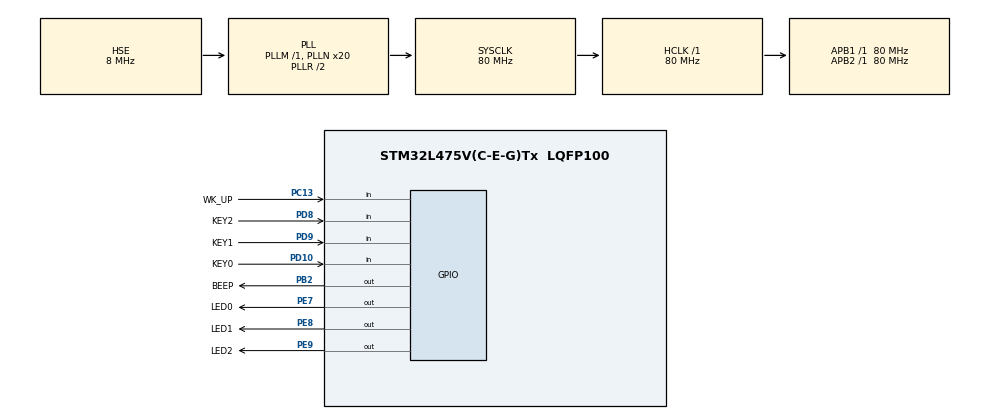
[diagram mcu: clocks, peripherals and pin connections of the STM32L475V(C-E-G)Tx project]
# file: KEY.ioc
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Mcu.Family=STM32L4
Mcu.Name=STM32L475V(C-E-G)Tx
Mcu.Package=LQFP100
NVIC.PriorityGroup=NVIC_PRIORITYGROUP_4
PA13\ (JTMS-SWDIO).Mode=Serial_Wire
PA13\ (JTMS-SWDIO).Signal=SYS_JTMS-SWDIO
PA14\ (JTCK-SWCLK).Mode=Serial_Wire
PA14\ (JTCK-SWCLK).Signal=SYS_JTCK-SWCLK
PB2.GPIO_Label=BEEP
PB2.GPIO_PuPd=GPIO_PULLUP
PB2.GPIO_Speed=GPIO_SPEED_FREQ_HIGH
PB2.PinState=GPIO_PIN_SET
PB2.Signal=GPIO_Output
PC13.GPIO_Label=WK_UP
PC13.GPIO_PuPd=GPIO_PULLUP
PC13.Signal=GPIO_Input
PD10.GPIO_Label=KEY0
PD10.GPIO_PuPd=GPIO_PULLDOWN
PD10.Signal=GPIO_Input
PD8.GPIO_Label=KEY2
PD8.GPIO_PuPd=GPIO_PULLDOWN
PD8.Signal=GPIO_Input
PD9.GPIO_Label=KEY1
PD9.GPIO_PuPd=GPIO_PULLDOWN
PD9.Signal=GPIO_Input
PE7.GPIO_Label=LED0
PE7.GPIO_ModeDefaultOutputPP=GPIO_MODE_OUTPUT_PP
PE7.GPIO_PuPd=GPIO_PULLUP
PE7.GPIO_Speed=GPIO_SPEED_FREQ_HIGH
PE7.PinState=GPIO_PIN_SET
PE7.Signal=GPIO_Output
PE8.GPIO_Label=LED1
PE8.GPIO_ModeDefaultOutputPP=GPIO_MODE_OUTPUT_PP
PE8.GPIO_PuPd=GPIO_PULLUP
PE8.GPIO_Speed=GPIO_SPEED_FREQ_HIGH
PE8.PinState=GPIO_PIN_SET
PE8.Signal=GPIO_Output
PE9.GPIO_Label=LED2
PE9.GPIO_ModeDefaultOutputPP=GPIO_MODE_OUTPUT_PP
PE9.GPIO_PuPd=GPIO_PULLUP
PE9.GPIO_Speed=GPIO_SPEED_FREQ_HIGH
PE9.PinState=GPIO_PIN_SET
PE9.Signal=GPIO_Output
PH0-OSC_IN\ (PH0).Mode=HSE-External-Oscillator
PH0-OSC_IN\ (PH0).Signal=RCC_OSC_IN
PH1-OSC_OUT\ (PH1).Mode=HSE-External-Oscillator
PH1-OSC_OUT\ (PH1).Signal=RCC_OSC_OUT
ProjectManager.HeapSize=0x200
ProjectManager.StackSize=0x400
ProjectManager.TargetToolchain=Makefile
RCC.ADCFreq_Value=32000000
RCC.AHBFreq_Value=80000000
RCC.APB1Freq_Value=80000000
RCC.APB1TimFreq_Value=80000000
RCC.APB2Freq_Value=80000000
RCC.APB2TimFreq_Value=80000000
RCC.CortexFreq_Value=80000000
RCC.HCLKFreq_Value=80000000
RCC.HSE_VALUE=8000000
RCC.HSI_VALUE=16000000
RCC.LSE_VALUE=32768
RCC.MSI_VALUE=4000000
RCC.PLLN=20
RCC.PLLSourceVirtual=RCC_PLLSOURCE_HSE
RCC.SYSCLKFreq_VALUE=80000000
RCC.SYSCLKSource=RCC_SYSCLKSOURCE_PLLCLK
RCC.USBFreq_Value=32000000
RCC.VCOOutputFreq_Value=160000000
board=custom

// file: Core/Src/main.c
/* USER CODE BEGIN Header */
/**
  ******************************************************************************
  * @file           : main.c
  * @brief          : Main program body
  ******************************************************************************
  * @attention
  *
  * Copyright (c) 2025 STMicroelectronics.
  * All rights reserved.
  *
  * This software is licensed under terms that can be found in the LICENSE file
  * in the root directory of this software component.
  * If no LICENSE file comes with this software, it is provided AS-IS.
  *
  ******************************************************************************
  */
/* USER CODE END Header */
#include "main.h"
#include "gpio.h"

void SystemClock_Config(void);

int main(void)
{

  /* MCU Configuration--------------------------------------------------------*/

  /* Reset of all peripherals, Initializes the Flash interface and the Systick. */
  HAL_Init();

  /* Configure the system clock */
  SystemClock_Config();

  /* Initialize all configured peripherals */
  MX_GPIO_Init();

  /* Infinite loop */
  /* USER CODE BEGIN WHILE */
  while (1)
  {
    if(HAL_GPIO_ReadPin(KEY0_GPIO_Port, KEY0_Pin) == GPIO_PIN_RESET)
    {
      HAL_Delay(10);
      if(HAL_GPIO_ReadPin(KEY0_GPIO_Port, KEY0_Pin) == GPIO_PIN_RESET)
      {
        HAL_GPIO_WritePin(LED0_GPIO_Port, LED0_Pin, GPIO_PIN_RESET);
      }
      else
      {
        HAL_GPIO_WritePin(LED0_GPIO_Port, LED0_Pin, GPIO_PIN_SET);
      }
    }

    else if(HAL_GPIO_ReadPin(KEY1_GPIO_Port, KEY1_Pin) == GPIO_PIN_RESET)
    {
      HAL_Delay(10);
      if(HAL_GPIO_ReadPin(KEY1_GPIO_Port, KEY1_Pin) == GPIO_PIN_RESET)
      {
        HAL_GPIO_WritePin(LED1_GPIO_Port, LED1_Pin, GPIO_PIN_RESET);
      }
      else
      {
        HAL_GPIO_WritePin(LED1_GPIO_Port, LED1_Pin, GPIO_PIN_SET);
      }
    }

    else if(HAL_GPIO_ReadPin(KEY2_GPIO_Port, KEY2_Pin) == GPIO_PIN_RESET)
    {
      HAL_Delay(10);
      if(HAL_GPIO_ReadPin(KEY2_GPIO_Port, KEY2_Pin) == GPIO_PIN_RESET)
      {
        HAL_GPIO_WritePin(LED2_GPIO_Port, LED2_Pin, GPIO_PIN_RESET);
      }
      else
      {
        HAL_GPIO_WritePin(LED2_GPIO_Port, LED2_Pin, GPIO_PIN_SET);
      }
    }

    else if(HAL_GPIO_ReadPin(WK_UP_GPIO_Port, WK_UP_Pin) == GPIO_PIN_SET)
    {
      HAL_Delay(10);
      if(HAL_GPIO_ReadPin(WK_UP_GPIO_Port, WK_UP_Pin) == GPIO_PIN_SET)
      {
        HAL_GPIO_WritePin(BEEP_GPIO_Port, BEEP_Pin, GPIO_PIN_SET);
      }
      else
      {
        HAL_GPIO_WritePin(BEEP_GPIO_Port, BEEP_Pin, GPIO_PIN_RESET);
      }
    }
    /* USER CODE END WHILE */

  }
}

void SystemClock_Config(void)
{
  RCC_OscInitTypeDef RCC_OscInitStruct = {0};
  RCC_ClkInitTypeDef RCC_ClkInitStruct = {0};

  /** Configure the main internal regulator output voltage
  */
  if (HAL_PWREx_ControlVoltageScaling(PWR_REGULATOR_VOLTAGE_SCALE1) != HAL_OK)
  {
    Error_Handler();
  }

  /** Initializes the RCC Oscillators according to the specified parameters
  * in the RCC_OscInitTypeDef structure.
  */
  RCC_OscInitStruct.OscillatorType = RCC_OSCILLATORTYPE_HSE;
  RCC_OscInitStruct.HSEState = RCC_HSE_ON;
  RCC_OscInitStruct.PLL.PLLState = RCC_PLL_ON;
  RCC_OscInitStruct.PLL.PLLSource = RCC_PLLSOURCE_HSE;
  RCC_OscInitStruct.PLL.PLLM = 1;
  RCC_OscInitStruct.PLL.PLLN = 20;
  RCC_OscInitStruct.PLL.PLLP = RCC_PLLP_DIV7;
  RCC_OscInitStruct.PLL.PLLQ = RCC_PLLQ_DIV2;
  RCC_OscInitStruct.PLL.PLLR = RCC_PLLR_DIV2;
  if (HAL_RCC_OscConfig(&RCC_OscInitStruct) != HAL_OK)
  {
    Error_Handler();
  }

  /** Initializes the CPU, AHB and APB buses clocks
  */
  RCC_ClkInitStruct.ClockType = RCC_CLOCKTYPE_HCLK|RCC_CLOCKTYPE_SYSCLK
                              |RCC_CLOCKTYPE_PCLK1|RCC_CLOCKTYPE_PCLK2;
  RCC_ClkInitStruct.SYSCLKSource = RCC_SYSCLKSOURCE_PLLCLK;
  RCC_ClkInitStruct.AHBCLKDivider = RCC_SYSCLK_DIV1;
  RCC_ClkInitStruct.APB1CLKDivider = RCC_HCLK_DIV1;
  RCC_ClkInitStruct.APB2CLKDivider = RCC_HCLK_DIV1;

  if (HAL_RCC_ClockConfig(&RCC_ClkInitStruct, FLASH_LATENCY_4) != HAL_OK)
  {
    Error_Handler();
  }
}

void Error_Handler(void)
{
  __disable_irq();
  while (1)
  {
  }
}
